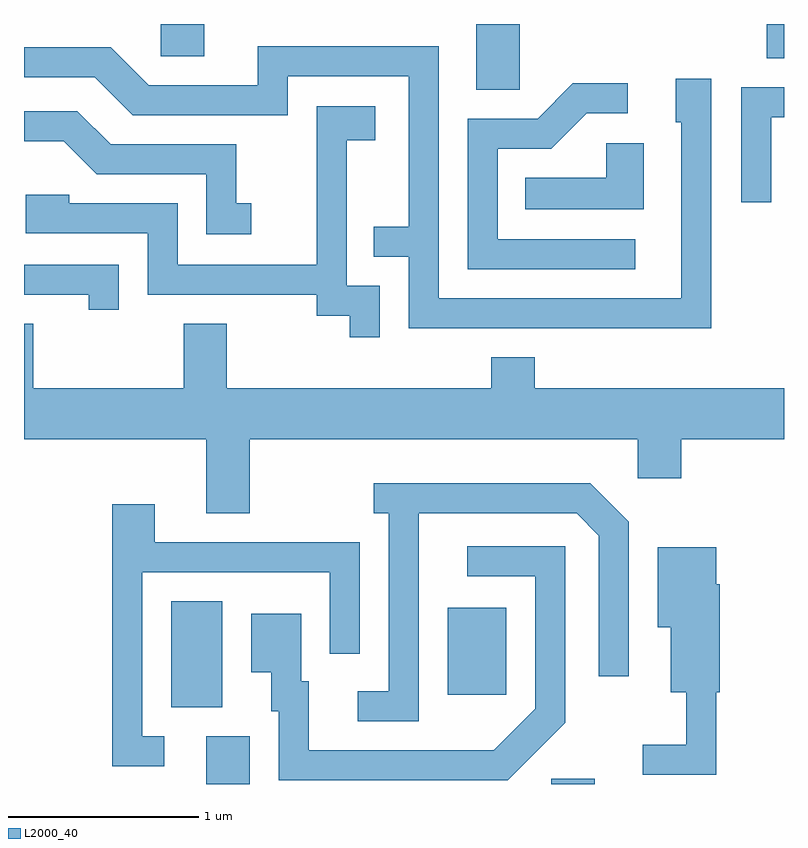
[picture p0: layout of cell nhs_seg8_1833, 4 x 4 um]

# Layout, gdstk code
import gdstk
lib = gdstk.Library(unit=1e-6, precision=1e-09)
def R(c, l, rs):  # rectangles x0, y0, x1, y1
    for r in rs: c.add(gdstk.rectangle(r[:2], r[2:], *l))
def P(c, l, *ps):  # polygons
    for p in ps: c.add(gdstk.Polygon(p, *l))
L2000_40 = (2000, 40)

nhs_seg8_1833 = lib.new_cell('nhs_seg8_1833')
R(nhs_seg8_1833, L2000_40, [(240.571,1872.342,240.799,1872.594), (242.386,1872.342,242.614,1872.369), (240.386,1872.746,240.654,1873.304), (241.841,1872.811,242.149,1873.269), (241.991,1875.996,242.219,1876.342), (243.521,1876.161,243.611,1876.342), (240.331,1876.171,240.559,1876.342)])
P(nhs_seg8_1833, L2000_40, [(243.229,1876.054),(243.041,1876.054),(243.041,1875.826),(243.071,1875.826),(243.071,1874.899),(241.794,1874.899),(241.794,1876.224),(240.841,1876.224),(240.841,1876.019),(240.267,1876.019),(240.067,1876.219),(239.611,1876.219),(239.611,1876.061),(239.984,1876.061),(240.184,1875.861),(240.999,1875.861),(240.999,1876.066),(241.636,1876.066),(241.636,1875.274),(241.453,1875.274),(241.453,1875.116),(241.636,1875.116),(241.636,1874.741),(243.229,1874.741)],
  [(242.828,1875.209),(242.104,1875.209),(242.104,1875.686),(242.387,1875.686),(242.572,1875.871),(242.788,1875.871),(242.788,1876.029),(242.499,1876.029),(242.314,1875.844),(241.946,1875.844),(241.946,1875.051),(242.828,1875.051)],
  [(243.544,1875.851),(243.611,1875.851),(243.611,1876.009),(243.386,1876.009),(243.386,1875.403),(243.544,1875.403)],
  [(241.484,1874.964),(241.309,1874.964),(241.309,1875.731),(241.459,1875.731),(241.459,1875.909),(241.151,1875.909),(241.151,1875.074),(240.419,1875.074),(240.419,1875.399),(239.849,1875.399),(239.849,1875.444),(239.621,1875.444),(239.621,1875.241),(240.261,1875.241),(240.261,1874.916),(241.151,1874.916),(241.151,1874.806),(241.326,1874.806),(241.326,1874.693),(241.484,1874.693)],
  [(240.808,1875.399),(240.729,1875.399),(240.729,1875.709),(240.067,1875.709),(239.892,1875.884),(239.611,1875.884),(239.611,1875.726),(239.819,1875.726),(239.994,1875.551),(240.571,1875.551),(240.571,1875.236),(240.808,1875.236)],
  [(242.874,1875.714),(242.676,1875.714),(242.676,1875.534),(242.248,1875.534),(242.248,1875.366),(242.874,1875.366)],
  [(240.109,1875.074),(239.611,1875.074),(239.611,1874.916),(239.951,1874.916),(239.951,1874.838),(240.109,1874.838)],
  [(240.799,1874.156),(242.841,1874.156),(242.841,1873.951),(243.069,1873.951),(243.069,1874.156),(243.611,1874.156),(243.611,1874.424),(242.299,1874.424),(242.299,1874.589),(242.071,1874.589),(242.071,1874.424),(240.679,1874.424),(240.679,1874.764),(240.451,1874.764),(240.451,1874.424),(239.659,1874.424),(239.659,1874.764),(239.611,1874.764),(239.611,1874.156),(240.571,1874.156),(240.571,1873.766),(240.799,1873.766)],
  [(241.689,1873.766),(242.519,1873.766),(242.636,1873.649),(242.636,1872.908),(242.794,1872.908),(242.794,1873.722),(242.592,1873.924),(241.453,1873.924),(241.453,1873.766),(241.531,1873.766),(241.531,1872.829),(241.368,1872.829),(241.368,1872.671),(241.689,1872.671)],
  [(240.348,1872.594),(240.234,1872.594),(240.234,1873.456),(241.221,1873.456),(241.221,1873.028),(241.379,1873.028),(241.379,1873.614),(240.299,1873.614),(240.299,1873.814),(240.076,1873.814),(240.076,1872.436),(240.348,1872.436)],
  [(242.459,1872.664),(242.459,1873.594),(241.943,1873.594),(241.943,1873.436),(242.301,1873.436),(242.301,1872.737),(242.084,1872.519),(241.109,1872.519),(241.109,1872.884),(241.069,1872.884),(241.069,1873.239),(240.806,1873.239),(240.806,1872.931),(240.911,1872.931),(240.911,1872.726),(240.951,1872.726),(240.951,1872.361),(242.157,1872.361)],
  [(243.254,1872.826),(243.274,1872.826),(243.274,1873.394),(243.254,1873.394),(243.254,1873.589),(242.946,1873.589),(242.946,1873.166),(243.016,1873.166),(243.016,1872.826),(243.096,1872.826),(243.096,1872.549),(242.868,1872.549),(242.868,1872.391),(243.254,1872.391)])

lib.write_gds('nhs_seg8_1833.gds')
